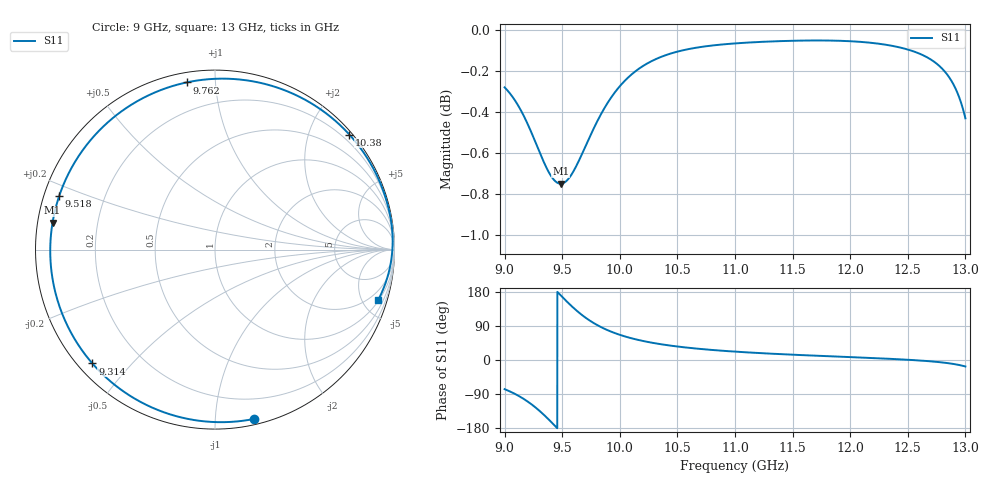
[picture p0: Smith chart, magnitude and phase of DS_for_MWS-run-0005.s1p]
! TOUCHSTONE file generated by CST DESIGN STUDIO
! Date and time: Tue Feb  4 12:57:24 2025
! Project name: C:\Work\MatlabApps\UnitCellOptimizationMatlab\CST\unitcell.cst
! Tree item: Tasks\Sweep1\SPara1\S-Parameters
! Header version: 2024
! Port assignment regex: !\s*Touchstone port\s*([0-9]+)\s*=\s*(CST MWS port|CST DES external port|CST DES block port)\s*(.+)\s* \(\"(.*)\"\)(\s*mode\s*([0-9]+))?.*
! Touchstone port assignment:
! Touchstone port 1 = CST DES external port 1 ("")
# GHz S MA R 50
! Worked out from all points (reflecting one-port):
!   4001 points, 9 GHz to 13 GHz, reference 50 ohm
!   lowest |S11| = -0.7 dB at 9.487 GHz (marker M1), VSWR 23.23, Z = 2.17 + j4.1 ohm
!   phase of S11 starts at -77 deg and turns -300 deg over the sweep
!   S11 on the Smith chart (normalised r, x): 9 GHz: 0.04, -1.26; 9.314 GHz: 0.04, -0.39; 9.518 GHz: 0.04, +0.17; 9.762 GHz: 0.05, +0.84; 10.38 GHz: 0.06, +2.70; 13 GHz: 1.09, -6.46
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9  0.9683 -76.9
9.08  0.9622 -88.0
9.179  0.9514 -105.3
9.249  0.9418 -120.6
9.314  0.9323 -137.1
9.363  0.9257 -151.1
9.406  0.9212 -164.0
9.447  0.9184 -176.8
9.487  0.9175 170.6
9.5  0.9176 166.6
9.518  0.918 161.0
9.579  0.922 142.9
9.637  0.9284 127.2
9.697  0.9362 112.9
9.762  0.9448 99.6
9.879  0.9584 80.7
10  0.9689 66.4
10.17  0.9786 52.3
10.379  0.9854 40.6
10.5  0.9878 35.6
10.722  0.9906 28.5
11  0.9924 22.1
11.5  0.9939 14.0
12  0.9936 7.6
12.5  0.989 0.6
12.798  0.9785 -6.4
12.9  0.9695 -10.6
13  0.9516 -17.1
